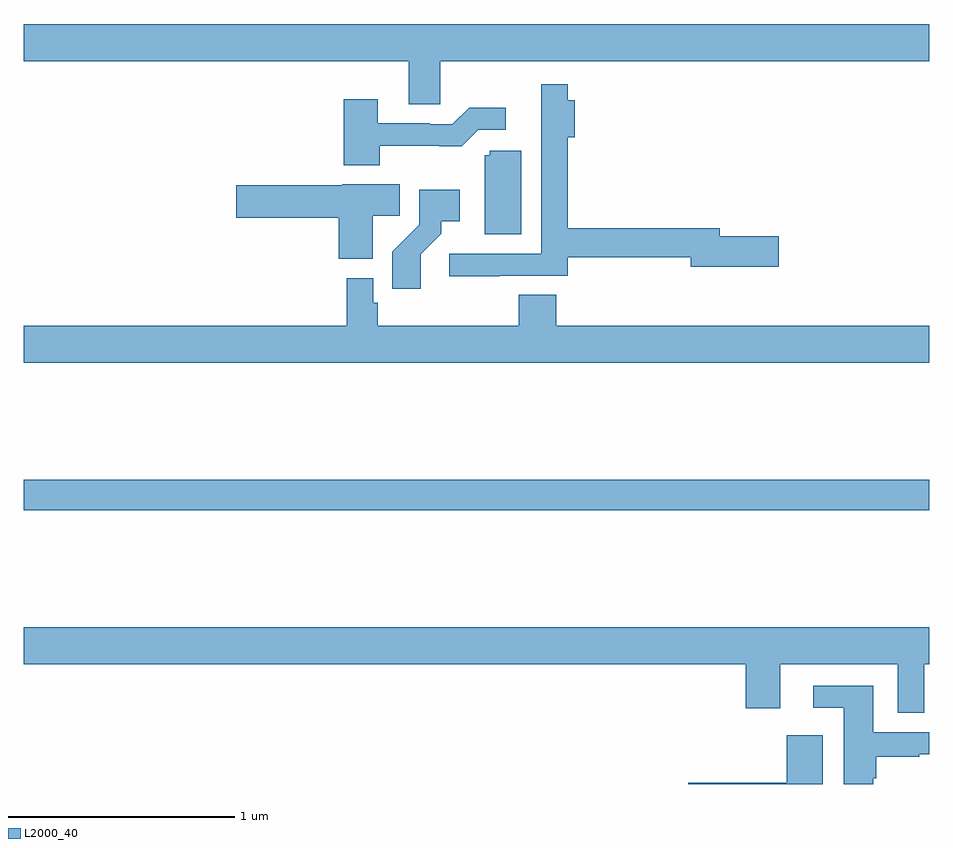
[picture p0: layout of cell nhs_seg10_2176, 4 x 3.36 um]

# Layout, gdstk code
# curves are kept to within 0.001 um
import gdstk
lib = gdstk.Library(unit=1e-6, precision=1e-09)
def R(c, l, rs):  # rectangles x0, y0, x1, y1
    for r in rs: c.add(gdstk.rectangle(r[:2], r[2:], *l))
def P(c, l, *ps):  # polygons
    for p in ps: c.add(gdstk.Polygon(p, *l))
L2000_40 = (2000, 40)

nhs_seg10_2176 = lib.new_cell('nhs_seg10_2176')
R(nhs_seg10_2176, L2000_40, [(227,1255.708,231,1255.844)])
P(nhs_seg10_2176, L2000_40, [(228.84,1257.692),(231,1257.692),(231,1257.856),(227,1257.856),(227,1257.692),(228.701,1257.692),(228.701,1257.502),(228.84,1257.502)],
  [(229.103,1256.745),(229.403,1256.745),(229.403,1256.826),(229.946,1256.826),(229.946,1256.783),(230.335,1256.783),(230.335,1256.918),(230.074,1256.918),(230.074,1256.954),(229.403,1256.954),(229.403,1257.355),(229.433,1257.355),(229.433,1257.52),(229.403,1257.52),(229.403,1257.589),(229.286,1257.589),(229.286,1257.366),(229.287,1257.366),(229.287,1256.841),(228.879,1256.841),(228.879,1256.743),(229.103,1256.743)],
  [(228.573,1257.318),(228.935,1257.317),(229.008,1257.39),(229.129,1257.39),(229.129,1257.487),(228.967,1257.487),(228.894,1257.414),(228.794,1257.414),(228.794,1257.417),(228.565,1257.417),(228.565,1257.523),(228.413,1257.523),(228.413,1257.233),(228.573,1257.233)],
  [(229.198,1257.297),(229.059,1257.297),(229.059,1257.276),(229.037,1257.276),(229.037,1256.928),(229.198,1256.928)],
  [(228.541,1257.01),(228.662,1257.01),(228.662,1257.148),(228.408,1257.148),(228.408,1257.143),(227.94,1257.143),(227.94,1257.001),(228.392,1257.001),(228.392,1256.819),(228.541,1256.819)],
  [(228.754,1256.839),(228.844,1256.929),(228.844,1256.984),(228.925,1256.984),(228.925,1257.124),(228.747,1257.124),(228.747,1256.969),(228.628,1256.85),(228.628,1256.688),(228.754,1256.688)],
  [(231,1256.524),(229.352,1256.524),(229.352,1256.66),(229.187,1256.66),(229.187,1256.524),(228.563,1256.524),(228.563,1256.625),(228.543,1256.625),(228.543,1256.734),(228.427,1256.734),(228.427,1256.524),(227,1256.524),(227,1256.36),(231,1256.36)],
  [(230.977,1255.028),(231,1255.028),(231,1255.192),(227,1255.192),(227,1255.028),(230.189,1255.028),(230.189,1254.834),(230.341,1254.834),(230.341,1255.028),(230.861,1255.028),(230.861,1254.814),(230.977,1254.814)],
  [(230.752,1254.525),(230.765,1254.525),(230.765,1254.621),(230.954,1254.621),(230.954,1254.632),(231,1254.632),(231,1254.729),(230.752,1254.729),(230.752,1254.933),(230.487,1254.933),(230.487,1254.837),(230.621,1254.837),(230.621,1254.5),(230.752,1254.5)],
  [(230.53,1254.715),(230.369,1254.715),(230.369,1254.505),(229.934,1254.505),(229.934,1254.5),(230.53,1254.5)])

lib.write_gds('nhs_seg10_2176.gds')
